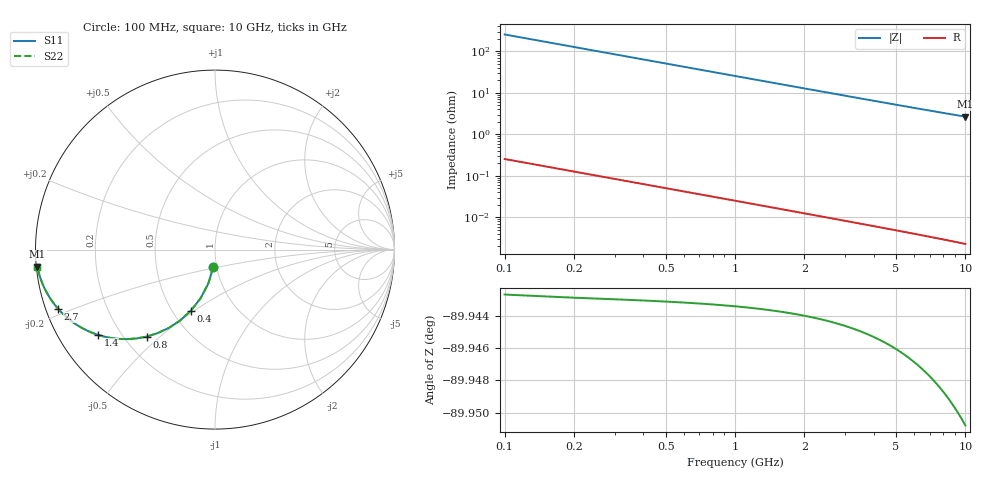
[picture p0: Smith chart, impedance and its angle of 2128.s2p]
# Hz S RI R 50.00
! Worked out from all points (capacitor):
!   100 points, 100 MHz to 10 GHz, reference 50 ohm
!   read as one part in shunt: C = 6.24 pF near 100 MHz
!   lowest |Z| = 2.67 ohm at 10 GHz (marker M1)
!   S11 on the Smith chart (normalised r, x): 100 MHz: 0.96, -0.19; 400 MHz: 0.62, -0.48; 800 MHz: 0.29, -0.45; 1.4 GHz: 0.12, -0.32; 2.7 GHz: 0.04, -0.18; 10 GHz: 0.00, -0.05
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1e8  -0.0096 -0.097  0.9904 -0.0971  0.9904 -0.0971  -0.0096 -0.097
2e8  -0.0372 -0.1886  0.9628 -0.1888  0.9628 -0.1888  -0.0372 -0.1886
3e8  -0.0798 -0.2703  0.9202 -0.2707  0.9202 -0.2707  -0.0798 -0.2703
4e8  -0.1335 -0.3394  0.8665 -0.3398  0.8665 -0.3398  -0.1335 -0.3394
5e8  -0.1939 -0.3946  0.8061 -0.3951  0.8061 -0.3951  -0.1939 -0.3946
6e8  -0.2571 -0.4362  0.7429 -0.4369  0.7429 -0.4369  -0.2571 -0.4362
7e8  -0.3201 -0.4656  0.6799 -0.4664  0.6799 -0.4664  -0.3201 -0.4656
8e8  -0.3807 -0.4846  0.6193 -0.4855  0.6193 -0.4855  -0.3807 -0.4846
9e8  -0.4374 -0.4951  0.5626 -0.496  0.5626 -0.496  -0.4374 -0.4951
1.1e9  -0.5371 -0.4975  0.4628 -0.4987  0.4628 -0.4987  -0.5371 -0.4975
1.2e9  -0.5799 -0.4924  0.42 -0.4937  0.42 -0.4937  -0.5799 -0.4924
1.4e9  -0.6525 -0.4749  0.3475 -0.4764  0.3475 -0.4764  -0.6525 -0.4749
1.6e9  -0.7102 -0.4523  0.2898 -0.454  0.2898 -0.454  -0.7102 -0.4523
1.8e9  -0.7561 -0.428  0.2439 -0.4299  0.2439 -0.4299  -0.7561 -0.428
2.2e9  -0.8222 -0.3807  0.1778 -0.383  0.1778 -0.383  -0.8222 -0.3807
2.7e9  -0.8743 -0.3296  0.1257 -0.3325  0.1257 -0.3325  -0.8743 -0.3296
3.4e9  -0.9167 -0.274  0.0833 -0.2776  0.0833 -0.2776  -0.9167 -0.274
4.2e9  -0.9437 -0.2276  0.0562 -0.2321  0.0562 -0.2321  -0.9437 -0.2276
5.1e9  -0.9611 -0.19  0.0389 -0.1955  0.0389 -0.1955  -0.9611 -0.19
6.7e9  -0.9771 -0.1453  0.0228 -0.1526  0.0228 -0.1526  -0.9771 -0.1453
8.4e9  -0.9853 -0.1149  0.0146 -0.1241  0.0146 -0.1241  -0.9853 -0.1149
1e10  -0.9897 -0.0949  0.0102 -0.1059  0.0102 -0.1059  -0.9897 -0.0949
